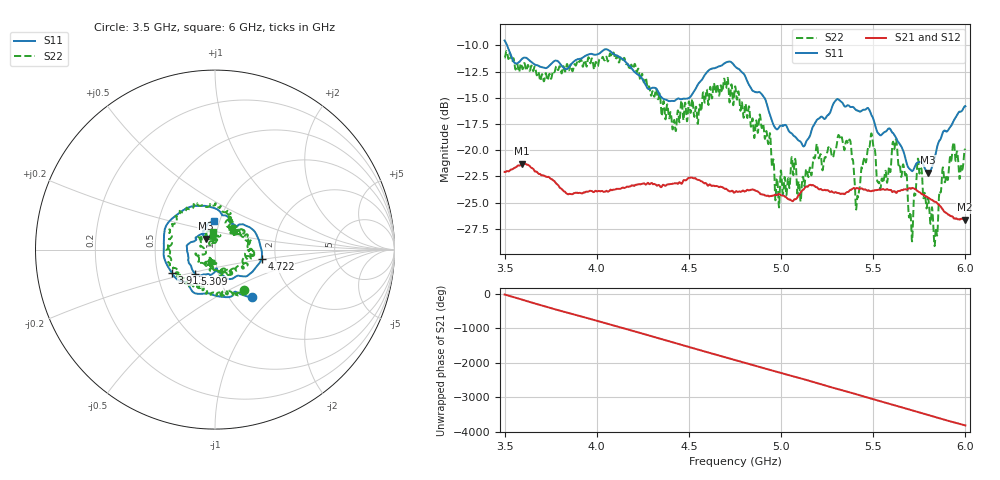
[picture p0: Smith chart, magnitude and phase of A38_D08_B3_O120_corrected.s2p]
! Created with skrf 1.9.0 (http://scikit-rf.org).
# Hz S RI R 50.0
!freq ReS11 ImS11 ReS21 ImS21 ReS12 ImS12 ReS22 ImS22
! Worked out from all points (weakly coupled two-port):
!   1601 points, 3.5 GHz to 6 GHz, reference 50 ohm
!   highest |S21| = -21.28 dB at 3.594 GHz (marker M1); lowest = -26.6 dB at 5.995 GHz (marker M2)
!   lowest |S11| = -22.1 dB at 5.798 GHz (marker M3), VSWR 1.17, Z = 44.9 + j5.43 ohm
!   |S11| at or under -10 dB: 3.513 GHz to end of sweep
!   |S22| runs from -29.2 to -10.5 dB; largest |S21 - S12| = 0.0011
!   S11 on the Smith chart (normalised r, x): 3.5 GHz: 1.26, -0.75; 3.913 GHz: 0.59, -0.16; 4.722 GHz: 1.69, -0.18; 5.309 GHz: 0.78, -0.22; 6 GHz: 0.94, +0.31
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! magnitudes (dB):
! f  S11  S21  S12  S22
! 3.5 GHz  -9.5  -22.1  -22.1  -11.2
! 3.594 GHz  -11.3  -21.3  -21.3  -12.1
! 3.913 GHz  -11.3  -24.1  -24.1  -11.4
! 3.917 GHz  -11.2  -24.1  -24.1  -11.4
! 4.334 GHz  -14.5  -23.3  -23.3  -15.1
! 4.722 GHz  -11.5  -23.9  -23.9  -15.4
! 4.75 GHz  -12.0  -24.0  -23.9  -13.9
! 4.931 GHz  -16.2  -24.4  -24.3  -19.4
! 4.98 GHz  -18.0  -24.2  -24.2  -22.8
! 5.167 GHz  -18.0  -23.4  -23.3  -22.2
! 5.309 GHz  -15.1  -24.1  -24.0  -18.6
! 5.414 GHz  -16.2  -23.6  -23.6  -24.4
! 5.484 GHz  -16.4  -23.9  -23.9  -19.0
! 5.584 GHz  -17.9  -23.8  -23.8  -21.7
! 5.617 GHz  -18.6  -23.9  -23.9  -19.6
! 5.703 GHz  -21.9  -23.7  -23.6  -26.1
! 5.75 GHz  -21.1  -24.0  -24.0  -22.2
! 5.798 GHz  -22.1  -24.5  -24.5  -24.6
! 5.839 GHz  -20.3  -24.9  -24.9  -27.7
! 5.928 GHz  -17.5  -26.3  -26.3  -20.3
! 5.995 GHz  -15.8  -26.6  -26.5  -20.0
! 6 GHz  -15.8  -26.6  -26.6  -20.0
